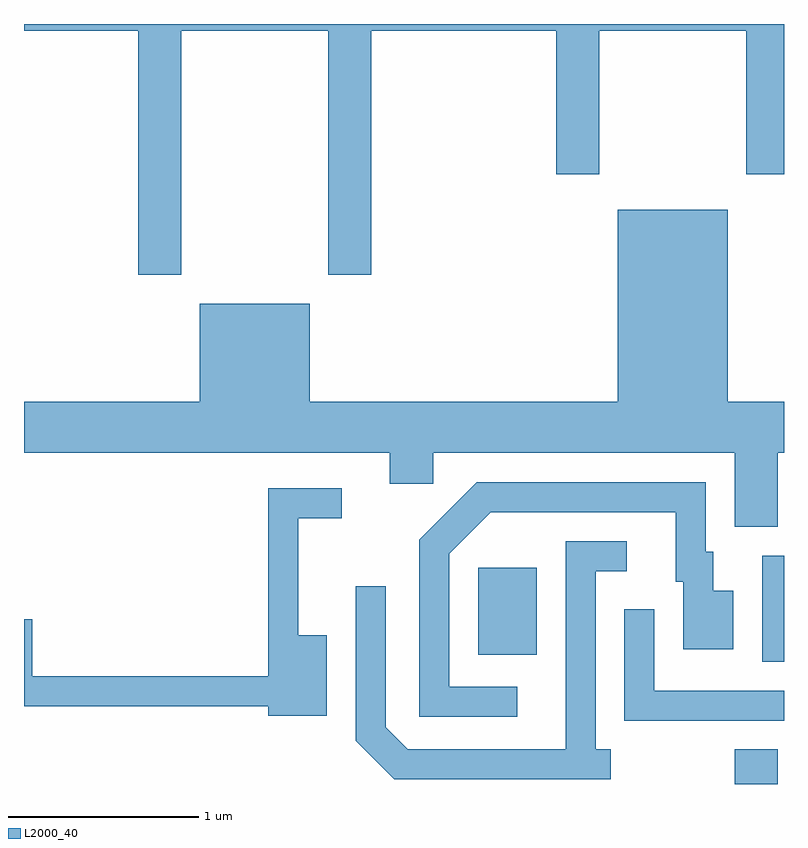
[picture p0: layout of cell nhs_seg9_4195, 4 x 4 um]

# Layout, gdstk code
import gdstk
lib = gdstk.Library(unit=1e-6, precision=1e-09)
def R(c, l, rs):  # rectangles x0, y0, x1, y1
    for r in rs: c.add(gdstk.rectangle(r[:2], r[2:], *l))
def P(c, l, *ps):  # polygons
    for p in ps: c.add(gdstk.Polygon(p, *l))
L2000_40 = (2000, 40)

nhs_seg9_4195 = lib.new_cell('nhs_seg9_4195')
R(nhs_seg9_4195, L2000_40, [(311.351,2074.432,311.579,2074.614), (311.496,2075.076,311.611,2075.634), (310.001,2075.111,310.309,2075.569)])
P(nhs_seg9_4195, L2000_40, [(308.439,2078.396),(309.211,2078.396),(309.211,2077.111),(309.439,2077.111),(309.439,2078.396),(310.411,2078.396),(310.411,2077.641),(310.639,2077.641),(310.639,2078.396),(311.411,2078.396),(311.411,2077.641),(311.611,2077.641),(311.611,2078.432),(307.611,2078.432),(307.611,2078.396),(308.211,2078.396),(308.211,2077.111),(308.439,2077.111)],
  [(311.351,2075.786),(311.579,2075.786),(311.579,2076.176),(311.611,2076.176),(311.611,2076.444),(311.314,2076.444),(311.314,2077.454),(310.736,2077.454),(310.736,2076.444),(309.114,2076.444),(309.114,2076.959),(308.536,2076.959),(308.536,2076.444),(307.611,2076.444),(307.611,2076.176),(309.536,2076.176),(309.536,2076.011),(309.764,2076.011),(309.764,2076.176),(311.351,2076.176)],
  [(310.208,2074.944),(309.849,2074.944),(309.849,2075.644),(310.067,2075.861),(311.041,2075.861),(311.041,2075.496),(311.081,2075.496),(311.081,2075.141),(311.344,2075.141),(311.344,2075.449),(311.239,2075.449),(311.239,2075.654),(311.199,2075.654),(311.199,2076.019),(309.994,2076.019),(309.691,2075.717),(309.691,2074.786),(310.208,2074.786)],
  [(309.204,2075.214),(309.054,2075.214),(309.054,2075.831),(309.283,2075.831),(309.283,2075.989),(308.896,2075.989),(308.896,2074.999),(307.654,2074.999),(307.654,2075.299),(307.611,2075.299),(307.611,2074.841),(308.896,2074.841),(308.896,2074.791),(309.204,2074.791)],
  [(310.698,2074.614),(310.619,2074.614),(310.619,2075.551),(310.783,2075.551),(310.783,2075.709),(310.461,2075.709),(310.461,2074.614),(309.632,2074.614),(309.514,2074.731),(309.514,2075.472),(309.356,2075.472),(309.356,2074.659),(309.559,2074.456),(310.698,2074.456)],
  [(311.611,2074.924),(310.929,2074.924),(310.929,2075.353),(310.771,2075.353),(310.771,2074.766),(311.611,2074.766)])

lib.write_gds('nhs_seg9_4195.gds')
